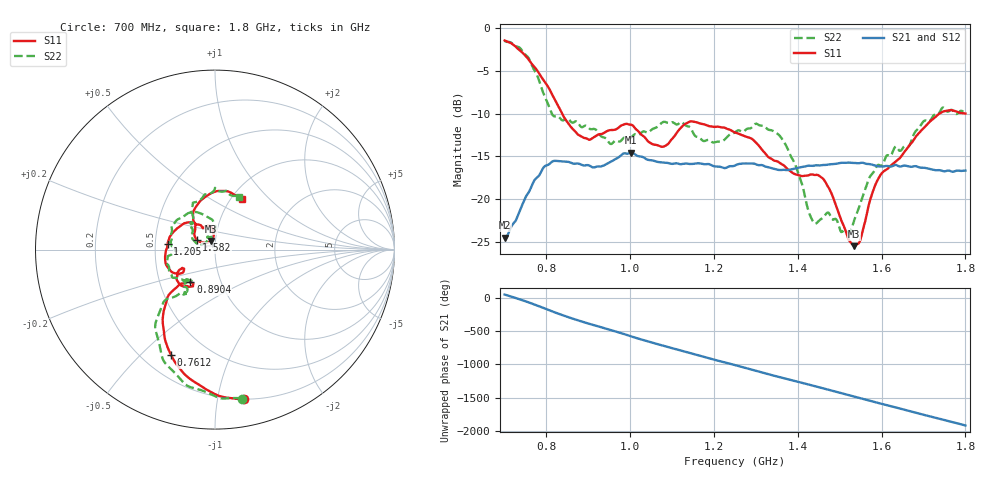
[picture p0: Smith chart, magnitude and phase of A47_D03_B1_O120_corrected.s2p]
! Created with skrf 1.9.0 (http://scikit-rf.org).
# Hz S RI R 50.0
!freq ReS11 ImS11 ReS21 ImS21 ReS12 ImS12 ReS22 ImS22
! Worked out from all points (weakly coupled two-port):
!   1601 points, 700 MHz to 1.8 GHz, reference 50 ohm
!   highest |S21| = -14.56 dB at 1.002 GHz (marker M1); lowest = -24.5 dB at 701.4 MHz (marker M2)
!   lowest |S11| = -25.5 dB at 1.535 GHz (marker M3), VSWR 1.11, Z = 47.5 + j4.53 ohm
!   |S11| at or under -10 dB: 837.5 MHz to 1.737 GHz (899.8 MHz wide, 69.9 % of centre)
!   |S22| runs from -24.0 to -1.5 dB; largest |S21 - S12| = 0.0035
!   S11 on the Smith chart (normalised r, x): 700 MHz: 0.20, -1.19; 761.2 MHz: 0.31, -0.62; 890.4 MHz: 0.72, -0.28; 1.205 GHz: 0.58, +0.04; 1.582 GHz: 0.81, +0.09; 1.8 GHz: 1.12, +0.70
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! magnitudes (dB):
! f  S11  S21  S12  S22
! 700 MHz  -1.4  -24.5  -24.3  -1.5
! 701.4 MHz  -1.5  -24.5  -24.1  -1.5
! 761.2 MHz  -3.9  -18.8  -18.7  -3.9
! 814.8 MHz  -7.9  -15.6  -15.6  -10.2
! 883.6 MHz  -12.7  -16.0  -15.9  -11.6
! 890.4 MHz  -12.8  -16.0  -16.0  -11.4
! 1.002 GHz  -11.3  -14.6  -14.7  -12.8
! 1.067 GHz  -13.7  -15.6  -15.6  -11.4
! 1.141 GHz  -10.9  -15.9  -15.8  -11.5
! 1.205 GHz  -11.5  -16.2  -16.2  -13.3
! 1.25 GHz  -12.2  -16.1  -16.0  -12.2
! 1.357 GHz  -15.8  -16.6  -16.5  -12.6
! 1.394 GHz  -17.1  -16.4  -16.4  -16.0
! 1.434 GHz  -17.1  -16.1  -16.1  -22.4
! 1.467 GHz  -18.1  -16.0  -16.0  -21.7
! 1.52 GHz  -24.5  -15.7  -15.7  -24.0
! 1.535 GHz  -25.5  -15.8  -15.8  -22.4
! 1.55 GHz  -24.7  -15.8  -15.8  -20.4
! 1.582 GHz  -18.7  -16.0  -16.0  -16.7
! 1.617 GHz  -16.3  -16.1  -16.1  -14.9
! 1.738 GHz  -10.0  -16.6  -16.7  -9.9
! 1.8 GHz  -10.0  -16.6  -16.6  -9.9
